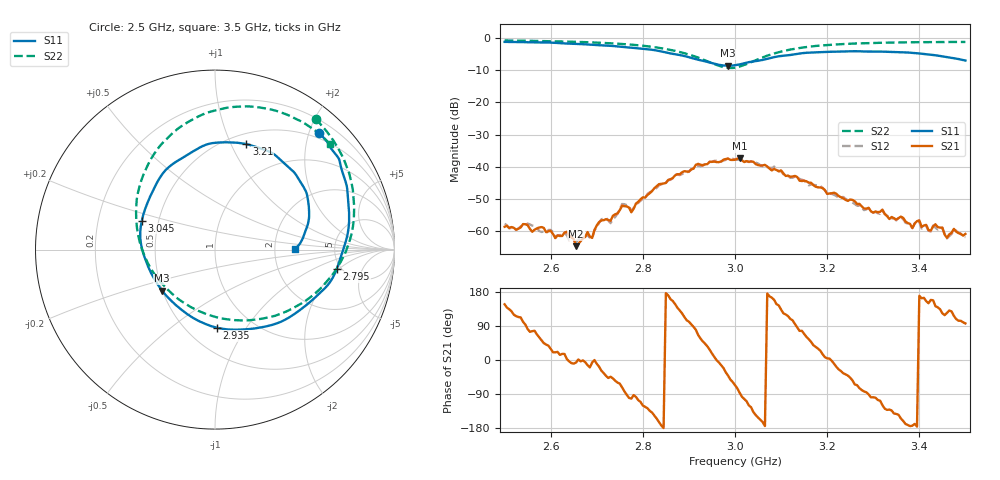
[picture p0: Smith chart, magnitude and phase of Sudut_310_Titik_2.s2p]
# Hz S RI R 50
! CMT, C1220, 16058040, 17.2.0/1
! Date: 15/08/2018 10:53:06
! Data: Format (Calibration Info)
! Freq  S11: Re/Im (F2)  S21: Re/Im (F2)  S12: Re/Im (F2)  S22: Re/Im (F2)
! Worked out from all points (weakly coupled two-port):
!   201 points, 2.5 GHz to 3.5 GHz, reference 50 ohm
!   highest |S21| = -37.37 dB at 3.01 GHz (marker M1); lowest = -64.7 dB at 2.655 GHz (marker M2)
!   lowest |S11| = -8.6 dB at 2.985 GHz (marker M3), VSWR 2.19, Z = 24.9 - j13.2 ohm
!   |S11| at or under -10 dB: nowhere
!   |S22| runs from -9.3 to -0.7 dB; largest |S21 - S12| = 0.00091
!   S11 on the Smith chart (normalised r, x): 2.5 GHz: 0.40, +2.17; 2.795 GHz: 4.60, -1.86; 2.935 GHz: 0.69, -0.75; 3.045 GHz: 0.40, +0.16; 3.21 GHz: 0.61, +1.15; 3.5 GHz: 2.62, +0.02
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2.5e9  0.58 0.6514  -0.000978 0.000635  -0.00108 0.000714  0.5608 0.727
2.635e9  0.7236 0.3907  0.000974 4.36e-05  0.000868 -4.74e-05  0.7046 0.5302
2.655e9  0.7356 0.3462  0.000578 -6.94e-05  0.000677 -7.41e-05  0.7227 0.4907
2.67e9  0.7387 0.3155  0.000769 -1.51e-05  0.000766 -4.02e-05  0.7355 0.4582
2.69e9  0.7438 0.2511  0.000778 -9.02e-05  0.000766 -4.53e-05  0.7509 0.4124
2.71e9  0.7473 0.1928  0.00129 -0.000691  0.00137 -0.000649  0.7631 0.3598
2.73e9  0.7458 0.1375  0.00103 -0.00101  0.00085 -0.00102  0.7705 0.3068
2.755e9  0.7285 0.0448  0.000751 -0.00235  0.00092 -0.00247  0.7754 0.2321
2.775e9  0.7071 -0.0229  -0.000403 -0.00192  -0.000474 -0.00201  0.7727 0.1649
2.795e9  0.6785 -0.1069  -0.0011 -0.00292  -0.00108 -0.00276  0.7622 0.0932
2.835e9  0.5807 -0.2458  -0.00514 -0.00149  -0.00491 -0.00155  0.7018 -0.0657
2.935e9  0.0121 -0.4357  0.00797 0.00743  0.00766 0.00779  0.2258 -0.3898
2.985e9  -0.2953 -0.2283  0.0101 -0.00883  0.0106 -0.00848  -0.1693 -0.2991
3e9  -0.3548 -0.1335  0.00516 -0.0117  0.00455 -0.0121  -0.2714 -0.215
3.01e9  -0.3841 -0.0646  0.000863 -0.0135  0.000857 -0.0129  -0.3293 -0.1481
3.045e9  -0.4072 0.1612  -0.00902 -0.00626  -0.00942 -0.00674  -0.4352 0.1249
3.17e9  0.0254 0.5969  0.00402 0.00328  0.00378 0.0036  -0.094 0.7411
3.21e9  0.1752 0.588  0.00387 -0.000148  0.00375 -0.000499  0.0515 0.7873
3.335e9  0.4665 0.393  -0.00101 -0.00116  -0.00114 -0.00114  0.3878 0.757
3.435e9  0.5193 0.1497  -0.001 0.000786  -0.00085 0.000745  0.5594 0.6616
3.46e9  0.4979 0.0864  -0.000443 0.00065  -0.0004 0.000656  0.5941 0.6348
3.5e9  0.4475 0.00268  -0.000102 0.000897  -6.02e-05 0.000805  0.6416 0.5878
